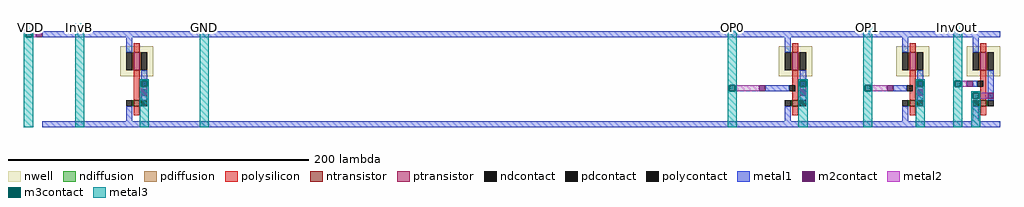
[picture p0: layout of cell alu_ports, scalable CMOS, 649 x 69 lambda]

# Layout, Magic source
magic
tech scmos
<< ndiffusion >>
rect 65 19 66 23
rect 503 19 504 23
<< metal1 >>
rect 0 65 52 69
rect 74 65 490 69
rect 512 65 568 69
rect 590 65 615 69
rect 66 30 70 37
rect 481 29 497 33
rect 504 30 508 37
rect 66 23 70 26
rect 566 29 575 33
rect 619 32 622 36
rect 504 23 508 26
rect 0 5 52 9
rect 65 5 71 9
rect 74 5 490 9
rect 512 5 568 9
rect 590 5 615 9
<< metal2 >>
rect -7 65 -4 69
rect 66 30 70 32
rect 461 29 477 33
rect 504 30 508 32
rect 551 29 562 33
rect 611 32 615 36
rect 582 30 586 32
rect 623 24 629 28
<< metal3 >>
rect -12 69 -6 74
rect -12 65 -11 69
rect -7 65 -6 69
rect -12 5 -6 65
rect 22 5 28 74
rect 65 36 71 37
rect 65 32 66 36
rect 70 32 71 36
rect 65 5 71 32
rect 105 5 111 74
rect 456 33 462 74
rect 456 29 457 33
rect 461 29 462 33
rect 456 5 462 29
rect 503 36 509 37
rect 503 32 504 36
rect 508 32 509 36
rect 503 5 509 32
rect 546 33 552 74
rect 546 29 547 33
rect 551 29 552 33
rect 546 5 552 29
rect 581 36 587 37
rect 581 32 582 36
rect 586 32 587 36
rect 581 5 587 32
rect 606 36 612 74
rect 606 32 607 36
rect 611 32 612 36
rect 606 5 612 32
rect 618 28 624 29
rect 618 24 619 28
rect 623 24 624 28
rect 618 5 624 24
<< polycontact >>
rect 497 29 501 33
rect 575 29 579 33
rect 622 32 626 36
<< ndcontact >>
rect 66 19 70 23
rect 504 19 508 23
<< m2contact >>
rect -4 65 0 69
rect 66 26 70 30
rect 477 29 481 33
rect 504 26 508 30
rect 562 29 566 33
rect 615 32 619 36
rect 582 26 586 30
rect 629 24 633 28
<< m3contact >>
rect -11 65 -7 69
rect 66 32 70 36
rect 457 29 461 33
rect 504 32 508 36
rect 547 29 551 33
rect 582 32 586 36
rect 607 32 611 36
rect 619 24 623 28
use inv  inv_0
transform 1 0 52 0 1 19
box 0 -14 22 50
use inv  inv_1
transform 1 0 615 0 1 19
box 0 -14 22 50
use inv  inv_2
transform 1 0 490 0 1 19
box 0 -14 22 50
use inv  inv_3
transform 1 0 568 0 1 19
box 0 -14 22 50
<< labels >>
flabel metal3 -10 69 -6 74 0 FreeMono 40 0 0 0 VDD
port 1 nsew
flabel metal3 22 69 28 74 0 FreeMono 40 0 0 0 InvB
port 3 nsew
flabel metal3 105 69 111 74 0 FreeMono 40 0 0 0 GND
port 5 nsew
flabel metal3 456 69 462 74 0 FreeMono 40 0 0 0 OP0
port 7 nsew
flabel metal3 546 69 552 74 0 FreeMono 40 0 0 0 OP1
port 9 nsew
flabel metal3 606 69 612 74 0 FreeMono 40 0 0 0 InvOut
port 11 nsew
<< end >>

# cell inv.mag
magic
tech scmos
<< nwell >>
rect 0 20 22 40
<< polysilicon >>
rect 9 36 13 42
rect 9 4 13 24
rect 9 -6 13 0
<< ndiffusion >>
rect 8 0 9 4
rect 13 0 14 4
<< pdiffusion >>
rect 8 24 9 36
rect 13 24 14 36
<< metal1 >>
rect 0 46 22 50
rect 4 36 8 46
rect 14 4 18 24
rect 4 -10 8 0
rect 0 -14 22 -10
<< ntransistor >>
rect 9 0 13 4
<< ptransistor >>
rect 9 24 13 36
<< ndcontact >>
rect 4 0 8 4
rect 14 0 18 4
<< pdcontact >>
rect 4 24 8 36
rect 14 24 18 36
<< labels >>
flabel metal1 0 46 22 50 0 FreeMono 40 0 0 0 VDD
port 1 nsew
flabel metal1 0 -14 22 -10 0 FreeMono 40 0 0 0 GND
port 3 nsew
flabel polysilicon 9 -6 13 -2 0 FreeMono 40 0 0 0 X
port 4 nsew
<< end >>
